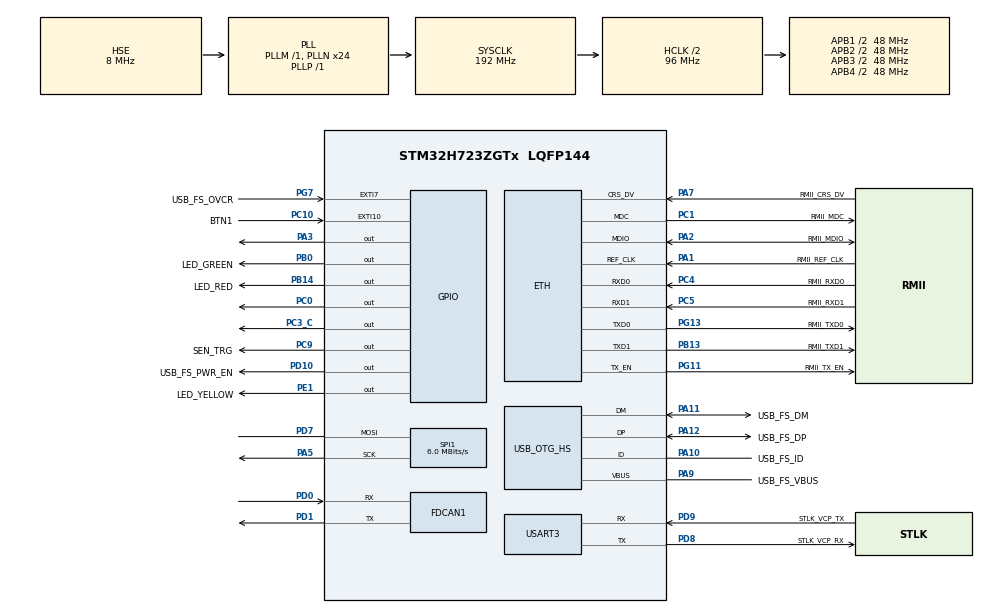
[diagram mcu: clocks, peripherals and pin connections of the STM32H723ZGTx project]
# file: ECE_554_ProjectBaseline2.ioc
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CORTEX_M7.AccessPermission-Cortex_Memory_Protection_Unit_Region0_Settings=MPU_REGION_FULL_ACCESS
CORTEX_M7.BaseAddress-Cortex_Memory_Protection_Unit_Region0_Settings=0x30000000
CORTEX_M7.CPU_DCache=Enabled
CORTEX_M7.CPU_ICache=Enabled
CORTEX_M7.DisableExec-Cortex_Memory_Protection_Unit_Region0_Settings=MPU_INSTRUCTION_ACCESS_DISABLE
CORTEX_M7.Enable-Cortex_Memory_Protection_Unit_Region0_Settings=MPU_REGION_ENABLE
CORTEX_M7.IsShareable-Cortex_Memory_Protection_Unit_Region0_Settings=MPU_ACCESS_SHAREABLE
CORTEX_M7.MPU_Control=MPU_PRIVILEGED_DEFAULT
CORTEX_M7.Size-Cortex_Memory_Protection_Unit_Region0_Settings=MPU_REGION_SIZE_32KB
CORTEX_M7.TypeExtField-Cortex_Memory_Protection_Unit_Region0_Settings=MPU_TEX_LEVEL1
ETH.MediaInterface=HAL_ETH_RMII_MODE
ETH.RxBuffAddress=0x30000100
ETH.RxBuffLen=1524
ETH.RxDescAddress=0x30000000
ETH.TxDescAddress=0x30000080
FDCAN1.AutoRetransmission=ENABLE
FDCAN1.NominalPrescaler=2
FDCAN1.NominalSyncJumpWidth=8
FDCAN1.NominalTimeSeg1=31
FDCAN1.NominalTimeSeg2=8
FDCAN1.ProtocolException=ENABLE
FDCAN1.RxFifo0ElmtsNbr=1
FDCAN1.StdFiltersNbr=1
FDCAN1.TxFifoQueueElmtsNbr=1
FREERTOS.Tasks01=Controller,24,300,Controller_handler,Default,NULL,Dynamic,NULL,NULL;TestMode1,8,128,TestMode1_handler,Default,NULL,Dynamic,NULL,NULL;TestMode2,24,128,TestMode2_handler,Default,NULL,Dynamic,NULL,NULL;TestMode3,24,128,TestMode3_handler,Default,NULL,Dynamic,NULL,NULL;CAN,24,128,CAN_handler,Default,NULL,Dynamic,NULL,NULL;TestMode4,24,128,TestMode4_handler,Default,NULL,Dynamic,NULL,NULL
FREERTOS.configGENERATE_RUN_TIME_STATS=1
FREERTOS.configTICK_RATE_HZ=100
FREERTOS.configUSE_NEWLIB_REENTRANT=1
FREERTOS.configUSE_STATS_FORMATTING_FUNCTIONS=1
FREERTOS.configUSE_TRACE_FACILITY=1
LWIP.BSP.number=1
LWIP.CMSIS_VERSION-Enabled=1
LWIP.GATEWAY_ADDRESS=192.168.001.001
LWIP.IP_ADDRESS=192.168.050.100
LWIP.LWIP_DHCP=0
LWIP.LWIP_RAM_HEAP_POINTER=0x30002000
LWIP.MEM_SIZE=10*1024
LWIP.NETMASK_ADDRESS=255.255.255.000
LWIP.Version=v2.1.2_Cube
LWIP0.BSP.STBoard=false
LWIP0.BSP.api=BSP_COMPONENT_DRIVER
LWIP0.BSP.component=LAN8742
LWIP0.BSP.i2caddr=0
LWIP0.BSP.instance=LAN8742
LWIP0.BSP.name=Driver_PHY
LWIP0.BSP.solution=LAN8742
Mcu.Family=STM32H7
Mcu.Name=STM32H723ZGTx
Mcu.Package=LQFP144
NVIC.ETH_IRQn=true\:5\:0\:false\:false\:true\:true\:true\:true
NVIC.EXTI15_10_IRQn=true\:5\:0\:false\:false\:true\:true\:true\:true
NVIC.FDCAN1_IT0_IRQn=true\:5\:0\:false\:false\:true\:true\:true\:true
NVIC.PriorityGroup=NVIC_PRIORITYGROUP_4
NVIC.TIM1_UP_IRQn=true\:15\:0\:false\:false\:true\:false\:false\:true
NVIC.TimeBase=TIM1_UP_IRQn
NVIC.TimeBaseIP=TIM1
PA1.GPIO_Label=RMII_REF_CLK
PA1.Mode=RMII
PA1.Signal=ETH_REF_CLK
PA10.GPIO_Label=USB_FS_ID
PA10.Mode=OTG/Dual-Role-Device-FS
PA10.Signal=USB_OTG_HS_ID
PA11.GPIO_Label=USB_FS_DM
PA11.Mode=OTG/Dual-Role-Device-FS
PA11.Signal=USB_OTG_HS_DM
PA12.GPIO_Label=USB_FS_DP
PA12.Mode=OTG/Dual-Role-Device-FS
PA12.Signal=USB_OTG_HS_DP
PA13(JTMS/SWDIO).GPIO_Label=SWDIO
PA13(JTMS/SWDIO).Mode=Trace_Asynchronous_SW
PA13(JTMS/SWDIO).Signal=DEBUG_JTMS-SWDIO
PA14(JTCK/SWCLK).GPIO_Label=SWCLK
PA14(JTCK/SWCLK).Mode=Trace_Asynchronous_SW
PA14(JTCK/SWCLK).Signal=DEBUG_JTCK-SWCLK
PA2.GPIO_Label=RMII_MDIO
PA2.Mode=RMII
PA2.Signal=ETH_MDIO
PA3.Signal=GPIO_Output
PA5.Mode=Simplex_Bidirectional_Master
PA5.Signal=SPI1_SCK
PA7.GPIO_Label=RMII_CRS_DV
PA7.Mode=RMII
PA7.Signal=ETH_CRS_DV
PA9.GPIO_Label=USB_FS_VBUS
PA9.Mode=Activate_VBUS_FS
PA9.Signal=USB_OTG_HS_VBUS
PB0.GPIO_Label=LED_GREEN
PB0.Signal=GPIO_Output
PB13.GPIO_Label=RMII_TXD1
PB13.Mode=RMII
PB13.Signal=ETH_TXD1
PB14.GPIO_Label=LED_RED
PB14.Signal=GPIO_Output
PB3(JTDO/TRACESWO).GPIO_Label=SWO
PB3(JTDO/TRACESWO).Mode=Trace_Asynchronous_SW
PB3(JTDO/TRACESWO).Signal=DEBUG_JTDO-SWO
PC0.Signal=GPIO_Output
PC1.GPIO_Label=RMII_MDC
PC1.Mode=RMII
PC1.Signal=ETH_MDC
PC10.GPIO_Label=BTN1
PC10.GPIO_ModeDefaultEXTI=GPIO_MODE_IT_FALLING
PC10.Signal=GPXTI10
PC14-OSC32_IN.Mode=LSE-External-Oscillator
PC14-OSC32_IN.Signal=RCC_OSC32_IN
PC15-OSC32_OUT.Mode=LSE-External-Oscillator
PC15-OSC32_OUT.Signal=RCC_OSC32_OUT
PC3_C.Signal=GPIO_Output
PC4.GPIO_Label=RMII_RXD0
PC4.Mode=RMII
PC4.Signal=ETH_RXD0
PC5.GPIO_Label=RMII_RXD1
PC5.Mode=RMII
PC5.Signal=ETH_RXD1
PC9.GPIO_Label=SEN_TRG
PC9.Signal=GPIO_Output
PD0.Mode=FDCAN_Activate
PD0.Signal=FDCAN1_RX
PD1.Mode=FDCAN_Activate
PD1.Signal=FDCAN1_TX
PD10.GPIO_Label=USB_FS_PWR_EN
PD10.Signal=GPIO_Output
PD7.Mode=Simplex_Bidirectional_Master
PD7.Signal=SPI1_MOSI
PD8.GPIO_Label=STLK_VCP_RX
PD8.Mode=Asynchronous
PD8.Signal=USART3_TX
PD9.GPIO_Label=STLK_VCP_TX
PD9.Mode=Asynchronous
PD9.Signal=USART3_RX
PE1.GPIO_Label=LED_YELLOW
PE1.Signal=GPIO_Output
PG11.GPIO_Label=RMII_TX_EN
PG11.Mode=RMII
PG11.Signal=ETH_TX_EN
PG13.GPIO_Label=RMII_TXD0
PG13.Mode=RMII
PG13.Signal=ETH_TXD0
PG7.GPIO_Label=USB_FS_OVCR
PG7.Signal=GPXTI7
PH0-OSC_IN.GPIO_Label=MCO
PH0-OSC_IN.Mode=HSE-External-Clock-Source
PH0-OSC_IN.Signal=RCC_OSC_IN
PH1-OSC_OUT.Signal=RCC_OSC_OUT
ProjectManager.HeapSize=0x200
ProjectManager.StackSize=0x400
ProjectManager.TargetToolchain=STM32CubeIDE
RCC.ADCFreq_Value=100000000
RCC.APB1Freq_Value=48000000
RCC.APB2Freq_Value=48000000
RCC.APB3Freq_Value=48000000
RCC.APB4Freq_Value=48000000
RCC.CortexFreq_Value=192000000
RCC.D1PPRE=RCC_APB3_DIV2
RCC.D2PPRE1=RCC_APB1_DIV2
RCC.D2PPRE2=RCC_APB2_DIV2
RCC.D3PPRE=RCC_APB4_DIV2
RCC.DIVM1=1
RCC.DIVM2=1
RCC.DIVN1=24
RCC.DIVN2=25
RCC.DIVP1=1
RCC.DIVQ2=5
RCC.FDCANCLockSelection=RCC_FDCANCLKSOURCE_PLL2
RCC.HCLKFreq_Value=96000000
RCC.HPRE=RCC_HCLK_DIV2
RCC.HSE_VALUE=8000000
RCC.PLL2FRACN=0
RCC.PLLFRACN=0
RCC.PLLSourceVirtual=RCC_PLLSOURCE_HSE
RCC.SYSCLKFreq_VALUE=192000000
RCC.SYSCLKSource=RCC_SYSCLKSOURCE_PLLCLK
RCC.USBCLockSelection=RCC_USBCLKSOURCE_HSI48
RCC.USBFreq_Value=48000000
SPI1.BaudRatePrescaler=SPI_BAUDRATEPRESCALER_16
SPI1.CalculateBaudRate=6.0 MBits/s
SPI1.DataSize=SPI_DATASIZE_8BIT
SPI1.Direction=SPI_DIRECTION_1LINE
SPI1.Mode=SPI_MODE_MASTER
SPI1.NSSPMode=SPI_NSS_PULSE_DISABLE
SPI1.VirtualType=VM_MASTER
TIM6.Prescaler=8000 - 1
USART3.VirtualMode-Asynchronous=VM_ASYNC
VP_CRC_VS_CRC.Mode=CRC_Activate
VP_FREERTOS_VS_CMSIS_V2.Mode=CMSIS_V2
VP_LWIP_VS_Enabled.Mode=Enabled
VP_SYS_VS_tim1.Mode=TIM1
VP_TIM6_VS_ClockSourceINT.Mode=Enable_Timer
board=NUCLEO-H723ZG

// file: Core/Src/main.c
/* USER CODE BEGIN Header */
/**
  * ****************************************************************************
  * University of Michigan - Dearborn
  *
  * Course: ECE 574 Adv SW Engineering Methods
  * Project: HIL Test Tool
  ******************************************************************************
  * @file           : main.c
  * @brief          : Main program body
  ******************************************************************************
  */
/* USER CODE END Header */
#include "main.h"
#include "cmsis_os.h"
#include "crc.h"
#include "fdcan.h"
#include "lwip.h"
#include "spi.h"
#include "tim.h"
#include "usart.h"
#include "usb_otg.h"
#include "gpio.h"

/* USER CODE BEGIN Includes */
#include "ST7735.h"
#include "GFX_FUNCTIONS.h"
#include "tcpServerRAW.h"
#include "Globals.h"
/* USER CODE END Includes */

void SystemClock_Config(void);
static void MPU_Config(void);
void MX_FREERTOS_Init(void);

int main(void)
{

  /* MPU Configuration--------------------------------------------------------*/
  MPU_Config();

  /* Enable I-Cache---------------------------------------------------------*/
  SCB_EnableICache();

  /* Enable D-Cache---------------------------------------------------------*/
  SCB_EnableDCache();

  /* MCU Configuration--------------------------------------------------------*/

  /* Reset of all peripherals, Initializes the Flash interface and the Systick. */
  HAL_Init();

  /* Configure the system clock */
  SystemClock_Config();

  /* Initialize all configured peripherals */
  MX_GPIO_Init();
  MX_USART3_UART_Init();
  MX_USB_OTG_HS_USB_Init();
  MX_FDCAN1_Init();
  MX_TIM6_Init();
  MX_SPI1_Init();
  MX_CRC_Init();
  /* USER CODE BEGIN 2 */
  FDCAN1_MSG_config();

  /* USER CODE END 2 */

  /* Init scheduler */
  osKernelInitialize();  /* Call init function for freertos objects (in freertos.c) */
  MX_FREERTOS_Init();
  /* Start scheduler */
  osKernelStart();

  /* We should never get here as control is now taken by the scheduler */
  /* Infinite loop */
  while (1)
  {

  }
}

void SystemClock_Config(void)
{
  RCC_OscInitTypeDef RCC_OscInitStruct = {0};
  RCC_ClkInitTypeDef RCC_ClkInitStruct = {0};

  /** Supply configuration update enable
  */
  HAL_PWREx_ConfigSupply(PWR_LDO_SUPPLY);
  /** Configure the main internal regulator output voltage
  */
  __HAL_PWR_VOLTAGESCALING_CONFIG(PWR_REGULATOR_VOLTAGE_SCALE2);

  while(!__HAL_PWR_GET_FLAG(PWR_FLAG_VOSRDY)) {}
  /** Macro to configure the PLL clock source
  */
  __HAL_RCC_PLL_PLLSOURCE_CONFIG(RCC_PLLSOURCE_HSE);
  /** Initializes the RCC Oscillators according to the specified parameters
  * in the RCC_OscInitTypeDef structure.
  */
  RCC_OscInitStruct.OscillatorType = RCC_OSCILLATORTYPE_HSI48|RCC_OSCILLATORTYPE_HSE;
  RCC_OscInitStruct.HSEState = RCC_HSE_BYPASS;
  RCC_OscInitStruct.HSI48State = RCC_HSI48_ON;
  RCC_OscInitStruct.PLL.PLLState = RCC_PLL_ON;
  RCC_OscInitStruct.PLL.PLLSource = RCC_PLLSOURCE_HSE;
  RCC_OscInitStruct.PLL.PLLM = 1;
  RCC_OscInitStruct.PLL.PLLN = 24;
  RCC_OscInitStruct.PLL.PLLP = 1;
  RCC_OscInitStruct.PLL.PLLQ = 2;
  RCC_OscInitStruct.PLL.PLLR = 2;
  RCC_OscInitStruct.PLL.PLLRGE = RCC_PLL1VCIRANGE_3;
  RCC_OscInitStruct.PLL.PLLVCOSEL = RCC_PLL1VCOWIDE;
  RCC_OscInitStruct.PLL.PLLFRACN = 0;
  if (HAL_RCC_OscConfig(&RCC_OscInitStruct) != HAL_OK)
  {
    Error_Handler();
  }
  /** Initializes the CPU, AHB and APB buses clocks
  */
  RCC_ClkInitStruct.ClockType = RCC_CLOCKTYPE_HCLK|RCC_CLOCKTYPE_SYSCLK
                              |RCC_CLOCKTYPE_PCLK1|RCC_CLOCKTYPE_PCLK2
                              |RCC_CLOCKTYPE_D3PCLK1|RCC_CLOCKTYPE_D1PCLK1;
  RCC_ClkInitStruct.SYSCLKSource = RCC_SYSCLKSOURCE_PLLCLK;
  RCC_ClkInitStruct.SYSCLKDivider = RCC_SYSCLK_DIV1;
  RCC_ClkInitStruct.AHBCLKDivider = RCC_HCLK_DIV2;
  RCC_ClkInitStruct.APB3CLKDivider = RCC_APB3_DIV2;
  RCC_ClkInitStruct.APB1CLKDivider = RCC_APB1_DIV2;
  RCC_ClkInitStruct.APB2CLKDivider = RCC_APB2_DIV2;
  RCC_ClkInitStruct.APB4CLKDivider = RCC_APB4_DIV2;

  if (HAL_RCC_ClockConfig(&RCC_ClkInitStruct, FLASH_LATENCY_1) != HAL_OK)
  {
    Error_Handler();
  }
}

/* MPU Configuration */

void MPU_Config(void)
{
  MPU_Region_InitTypeDef MPU_InitStruct = {0};

  /* Disables the MPU */
  HAL_MPU_Disable();
  /** Initializes and configures the Region and the memory to be protected
  */
  MPU_InitStruct.Enable = MPU_REGION_ENABLE;
  MPU_InitStruct.Number = MPU_REGION_NUMBER0;
  MPU_InitStruct.BaseAddress = 0x30000000;
  MPU_InitStruct.Size = MPU_REGION_SIZE_32KB;
  MPU_InitStruct.SubRegionDisable = 0x0;
  MPU_InitStruct.TypeExtField = MPU_TEX_LEVEL1;
  MPU_InitStruct.AccessPermission = MPU_REGION_FULL_ACCESS;
  MPU_InitStruct.DisableExec = MPU_INSTRUCTION_ACCESS_DISABLE;
  MPU_InitStruct.IsShareable = MPU_ACCESS_SHAREABLE;
  MPU_InitStruct.IsCacheable = MPU_ACCESS_NOT_CACHEABLE;
  MPU_InitStruct.IsBufferable = MPU_ACCESS_NOT_BUFFERABLE;

  HAL_MPU_ConfigRegion(&MPU_InitStruct);
  /* Enables the MPU */
  HAL_MPU_Enable(MPU_PRIVILEGED_DEFAULT);

}

void HAL_TIM_PeriodElapsedCallback(TIM_HandleTypeDef *htim)
{
  if (htim->Instance == TIM1) {
    HAL_IncTick();
  }
}

void Error_Handler(void)
{
  __disable_irq();
  while (1)
  {
  }
}

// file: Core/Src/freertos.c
/* USER CODE BEGIN Header */
/**
  * ****************************************************************************
  * University of Michigan - Dearborn
  *
  * Course: ECE 574 Adv SW Engineering Methods
  * Project: HIL Test Tool
  ******************************************************************************
  * File Name          : freertos.c
  * Description        : Code for freertos applications
  ******************************************************************************
  */
/* USER CODE END Header */

#include "FreeRTOS.h"
#include "task.h"
#include "main.h"
#include "cmsis_os.h"

/* USER CODE BEGIN Includes */
#include "fdcan.h"
#include "Globals.h"
#include "string.h"
#include "ST7735.h"
#include "GFX_FUNCTIONS.h"
#include "tcpServerRAW.h"
#include "lwip.h"
#include "tim.h"
/* USER CODE END Includes */

/* USER CODE BEGIN PD */
#define  TEST_MODE_1 1
#define  TEST_MODE_2 2
#define  TEST_MODE_3 3
#define  TEST_MODE_4 4

#define  START 1
#define  SEND  1

/* USER CODE END PD */

/* USER CODE BEGIN Variables */

uint8_t current_test_mode = 0;

/* USER CODE END Variables */
/* Definitions for Controller */
//osThreadId_t ControllerHandle;
const osThreadAttr_t Controller_attributes = {
  .name = "Controller",
  .stack_size = 300 * 4,
  .priority = (osPriority_t) osPriorityNormal,
};
/* Definitions for TestMode1 */
osThreadId_t TestMode1Handle;
const osThreadAttr_t TestMode1_attributes = {
  .name = "TestMode1",
  .stack_size = 128 * 4,
  .priority = (osPriority_t) osPriorityLow,
};
/* Definitions for TestMode2 */
osThreadId_t TestMode2Handle;
const osThreadAttr_t TestMode2_attributes = {
  .name = "TestMode2",
  .stack_size = 128 * 4,
  .priority = (osPriority_t) osPriorityNormal,
};
/* Definitions for TestMode3 */
osThreadId_t TestMode3Handle;
const osThreadAttr_t TestMode3_attributes = {
  .name = "TestMode3",
  .stack_size = 128 * 4,
  .priority = (osPriority_t) osPriorityNormal,
};
/* Definitions for CAN */
//osThreadId_t CANHandle;
const osThreadAttr_t CAN_attributes = {
  .name = "CAN",
  .stack_size = 128 * 4,
  .priority = (osPriority_t) osPriorityNormal,
};
/* Definitions for TestMode4 */
osThreadId_t TestMode4Handle;
const osThreadAttr_t TestMode4_attributes = {
  .name = "TestMode4",
  .stack_size = 128 * 4,
  .priority = (osPriority_t) osPriorityNormal,
};

/* USER CODE BEGIN FunctionPrototypes */
void resetMyCANTxData_TM1(void);
void resetMyCANTxData_TM2(void);
void resetMyCANTxData_TM3(void);
void resetMyCANTxData_TM4(void);

/* USER CODE END FunctionPrototypes */

void Controller_handler(void *argument);
void TestMode1_handler(void *argument);
void TestMode2_handler(void *argument);
void TestMode3_handler(void *argument);
void CAN_handler(void *argument);
void TestMode4_handler(void *argument);

extern void MX_LWIP_Init(void);
void MX_FREERTOS_Init(void); /* (MISRA C 2004 rule 8.1) */

/* Hook prototypes */
void configureTimerForRunTimeStats(void);
unsigned long getRunTimeCounterValue(void);

/* USER CODE BEGIN 1 */
/* Functions needed when configGENERATE_RUN_TIME_STATS is on */
__weak void configureTimerForRunTimeStats(void)
{

}

__weak unsigned long getRunTimeCounterValue(void)
{
return 0;
}
/* USER CODE END 1 */

void MX_FREERTOS_Init(void) {

  /* Create the thread(s) */
  /* creation of Controller */
  ControllerHandle = osThreadNew(Controller_handler, NULL, &Controller_attributes);

  /* creation of TestMode1 */
  TestMode1Handle = osThreadNew(TestMode1_handler, NULL, &TestMode1_attributes);

  /* creation of TestMode2 */
  TestMode2Handle = osThreadNew(TestMode2_handler, NULL, &TestMode2_attributes);

  /* creation of TestMode3 */
  TestMode3Handle = osThreadNew(TestMode3_handler, NULL, &TestMode3_attributes);

  /* creation of CAN */
  CANHandle = osThreadNew(CAN_handler, NULL, &CAN_attributes);

  /* creation of TestMode4 */
  TestMode4Handle = osThreadNew(TestMode4_handler, NULL, &TestMode4_attributes);

}

void Controller_handler(void *argument)
{
  /* init code for LWIP */
  /* USER CODE BEGIN Controller_handler */
  SM_STATES state = INIT;
  BaseType_t status;
  uint32_t test_mode;

  /* Infinite loop */
  for(;;)
  {
	  switch(state)
	  {
		  case INIT:
			        MX_LWIP_Init();
			        tcp_server_init();
			        ST7735_Init(3);
			        fillScreen(BLACK);
			  		ST7735_WriteString(0, 0, "     HIL Test Tool", Font_7x10, WHITE,BLACK);
			  		ST7735_WriteString(0, 20, "                    ", Font_7x10, WHITE,BLACK);
			  		ST7735_WriteString(0, 30, "Software Ver. 0.1", Font_7x10, WHITE,BLACK);
			  		ST7735_WriteString(0, 40, "Hardware Ver. 0.1", Font_7x10, WHITE,BLACK);
			  		ST7735_WriteString(0, 50, "IPv4 address:", Font_7x10, WHITE,BLACK);
			  		ST7735_WriteString(0, 60, "192.168.50.100", Font_7x10, WHITE,BLACK);
			  		ST7735_WriteString(0, 70, "Port: 10", Font_7x10, WHITE,BLACK);

			  		state = IDLE;
					break;

		  case IDLE:
			        status = xTaskNotifyWait(0, 0, &test_mode, pdMS_TO_TICKS(20));

			        if(status == pdPASS)
			        {
			        	switch(test_mode)
			        	{
			        		case TEST_MODE_1: current_test_mode = TEST_MODE_1;
			        					      fillScreen(BLACK);
			        					      ST7735_WriteString(0, 0, "     HIL Test Tool", Font_7x10, WHITE,BLACK);
			        			              ST7735_WriteString(0, 20, "Test M1: Speed Engine", Font_7x10, WHITE,BLACK);
			        			              ST7735_WriteString(0, 30, "Status:", Font_7x10, WHITE,BLACK);
			        			              ST7735_WriteString(50, 30, "Testing..", Font_7x10, YELLOW,BLACK);
			        			              xTaskNotify((TaskHandle_t)TestMode1Handle, START, eSetValueWithOverwrite);
				        	                  break;

			        		case TEST_MODE_2: current_test_mode = TEST_MODE_2;
			        						  fillScreen(BLACK);
											  ST7735_WriteString(0, 0, "     HIL Test Tool", Font_7x10, WHITE,BLACK);
											  ST7735_WriteString(0, 20, "Test M2: Headlights", Font_7x10, WHITE,BLACK);
											  ST7735_WriteString(0, 30, "Status:", Font_7x10, WHITE,BLACK);
											  ST7735_WriteString(50, 30, "Testing..", Font_7x10, YELLOW,BLACK);
			        					      xTaskNotify((TaskHandle_t)TestMode2Handle, START, eSetValueWithOverwrite);
			        			              break;

			        		case TEST_MODE_3: current_test_mode = TEST_MODE_3;
			        						  fillScreen(BLACK);
											  ST7735_WriteString(0, 0, "     HIL Test Tool", Font_7x10, WHITE,BLACK);
											  ST7735_WriteString(0, 20, "Test M3: Hazards", Font_7x10, WHITE,BLACK);
											  ST7735_WriteString(0, 30, "Status:", Font_7x10, WHITE,BLACK);
											  ST7735_WriteString(50, 30, "Testing..", Font_7x10, YELLOW,BLACK);
			        					      xTaskNotify((TaskHandle_t)TestMode3Handle, START, eSetValueWithOverwrite);
			        			              break;

			        		case TEST_MODE_4: current_test_mode = TEST_MODE_4;
			        						  fillScreen(BLACK);
											  ST7735_WriteString(0, 0, "     HIL Test Tool", Font_7x10, WHITE,BLACK);
											  ST7735_WriteString(0, 20, "Test M4: Engine Status", Font_7x10, WHITE,BLACK);
											  ST7735_WriteString(0, 30, "Status:", Font_7x10, WHITE,BLACK);
											  ST7735_WriteString(50, 30, "Testing..", Font_7x10, YELLOW,BLACK);
			        					      xTaskNotify((TaskHandle_t)TestMode4Handle, START, eSetValueWithOverwrite);
			        			              break;

			        		default:          break;
			        	}
			        }

			        state = IDLE;
			        break;

		  default:  break;
	  }

	  osDelay(1);
  }
  /* USER CODE END Controller_handler */
}

void TestMode1_handler(void *argument)
{
  /* USER CODE BEGIN TestMode1_handler */
  BaseType_t status;
  uint32_t parameter1, failure_flag;
  uint8_t expected_speed;
  TM_STATES TM1_state = TM_INIT;

  /* Infinite loop */
  for(;;)
  {

	  switch(TM1_state)
	  {
		  case TM_INIT:
			               status = xTaskNotifyWait(0, 0, &parameter1, pdMS_TO_TICKS(20));               // Notification comes from HAL_FDCAN_RxFifo0Callback within fdcan.c
		  	  	  	  	   if(status == pdPASS)
		  			       {
								resetMyCANTxData_TM1();                                                  // Resets the Tx CAN frame for a new test.
								TM1_state = TM_MAIN;
								HAL_GPIO_WritePin(LED_GREEN_GPIO_Port, LED_GREEN_Pin, GPIO_PIN_RESET);
								HAL_GPIO_WritePin(LED_RED_GPIO_Port, LED_RED_Pin, GPIO_PIN_RESET);
								HAL_GPIO_WritePin(LED_YELLOW_GPIO_Port, LED_YELLOW_Pin, GPIO_PIN_RESET);
								expected_speed = myTxData[6];
								HAL_FDCAN_AddMessageToTxFifoQ(&hfdcan1, &TxHeader, myTxData);            // Send initial CAN msg to DUT to indicate START of test.

		  			        	status = pdFALSE;														 //Reset status flag to be ready for a new test.
		  			       }

		  	  	  	  	   break;

		  case TM_MAIN:    /*Test Case #1: SPEED ENGINE TEST*/
			               status = xTaskNotifyWait(0, 0, &failure_flag, pdMS_TO_TICKS(10));             // Wait for DUT to respond with CAN ID 0x762.
			               if(status == pdPASS)
			               {
			            	   if(failure_flag != DUT_FAILURE)
			            	   {
			            		   if(myTxData[6] < 0xFF)
			                       {
			            		       myTxData[6]++;                                                   // Increment LSB and send the msg back to the DUT.
			            		       HAL_GPIO_TogglePin(LED_YELLOW_GPIO_Port, LED_YELLOW_Pin);
			            		   	   expected_speed = myTxData[6];
			            		   	   HAL_FDCAN_AddMessageToTxFifoQ(&hfdcan1, &TxHeader, myTxData);
			            		   }
			            		   else                                                                 // Finish test and print PASS results to TFT screen.
			            		   {
			            			   HAL_GPIO_TogglePin(LED_GREEN_GPIO_Port, LED_GREEN_Pin);
			            			   ST7735_WriteString(50, 30, "PASS     ", Font_7x10, GREEN, BLACK);
			            		   	   TM1_state = TM_CLEANUP;                                          // Send Test Mode to CLEANUP.
			            		   	   //tcp_server_send(myTcpb, esTx);
			            		   }
			            	   }
			            	   else																		// Finish test and print FAIL results to TFT screen.
			            	   {
			            		   HAL_GPIO_TogglePin(LED_RED_GPIO_Port, LED_RED_Pin);
			            		   ST7735_WriteString(50, 30, "FAIL     ", Font_7x10, RED, BLACK);
			            		   ST7735_WriteString(0, 50, "Description:", Font_7x10, WHITE,BLACK);
			            		   ST7735_WriteString(0, 60, "NRC Message Received", Font_7x10, YELLOW,BLACK);
			            		   TM1_state = TM_CLEANUP;
			            	   }
			               }

			               /* USER CODE BEGIN Test Case #2 */

			               /* USER CODE END Test Case #2 */

			               /* USER CODE BEGIN Test Case #3 */

			               /* USER CODE END Test Case #3 */
			               break;

		  case TM_CLEANUP:
			               myTxData[4] = 0;                                                                         // Send Speed Engine back to ZERO.
			               HAL_GPIO_WritePin(LED_YELLOW_GPIO_Port, LED_YELLOW_Pin, GPIO_PIN_RESET);
			               HAL_FDCAN_AddMessageToTxFifoQ(&hfdcan1, &TxHeader, myTxData);
			               TM1_state = TM_INIT;
		  			       break;
	  }

      osDelay(10);
  }
  /* USER CODE END TestMode1_handler */
}

void TestMode2_handler(void *argument)
{
  /* USER CODE BEGIN TestMode2_handler */

  uint32_t parameter1, failure_flag;
  uint8_t expected_result;
  BaseType_t status;
  TM_STATES TM2_state = TM_INIT;

  /* Infinite loop */
  for(;;)
  {
	  switch(TM2_state)
	  {
		  case TM_INIT:
						   status = xTaskNotifyWait(0, 0, &parameter1, pdMS_TO_TICKS(20));
						   if(status == pdPASS)
						   {
								resetMyCANTxData_TM2();                                                             // Resets the Tx CAN frame for a new test.
								TM2_state = TM_MAIN;
								HAL_GPIO_WritePin(LED_GREEN_GPIO_Port, LED_GREEN_Pin, GPIO_PIN_RESET);
								HAL_GPIO_WritePin(LED_RED_GPIO_Port, LED_RED_Pin, GPIO_PIN_RESET);
								HAL_GPIO_WritePin(LED_YELLOW_GPIO_Port, LED_YELLOW_Pin, GPIO_PIN_RESET);
								expected_result = myTxData[6];
								HAL_FDCAN_AddMessageToTxFifoQ(&hfdcan1, &TxHeader, myTxData);                       // Send initial CAN msg to DUT to indicate START of test.

								status = pdFALSE;															        //Reset status flag to be ready for a new test.
						   }

						   break;

		  case TM_MAIN:    /*Test Case #1: HEADLIGHT TEST*/
			               status = xTaskNotifyWait(0, 0, &failure_flag, pdMS_TO_TICKS(10));                        // Wait for DUT to respond with CAN ID 0x762.
			               if(status == pdPASS)
						   {
							   if(failure_flag != DUT_FAILURE)
							   {
								   HAL_GPIO_TogglePin(LED_GREEN_GPIO_Port, LED_GREEN_Pin);
								   ST7735_WriteString(50, 30, "PASS     ", Font_7x10, GREEN, BLACK);
								   TM2_state = TM_CLEANUP;
							   }
							   else																					// Finish test and print FAIL results to TFT screen.
							   {
								   HAL_GPIO_TogglePin(LED_RED_GPIO_Port, LED_RED_Pin);
			            		   ST7735_WriteString(50, 30, "FAIL     ", Font_7x10, RED, BLACK);
			            		   ST7735_WriteString(0, 50, "Description:", Font_7x10, WHITE,BLACK);
			            		   ST7735_WriteString(0, 60, "NAK message Received", Font_7x10, YELLOW,BLACK);
								   TM2_state = TM_CLEANUP;
							   }
						   }

						   break;

		  case TM_CLEANUP:
			               HAL_GPIO_WritePin(LED_YELLOW_GPIO_Port, LED_YELLOW_Pin, GPIO_PIN_RESET);
			  			   TM2_state = TM_INIT;
						   break;
	  }

	  osDelay(1);
  }
  /* USER CODE END TestMode2_handler */
}

void TestMode3_handler(void *argument)
{
  /* USER CODE BEGIN TestMode3_handler */

  uint32_t parameter1, failure_flag;
  uint8_t expected_result;
  BaseType_t status;
  TM_STATES TM3_state = TM_INIT;

  /* Infinite loop */
  for(;;)
  {
	  switch(TM3_state)
	  {
		  case TM_INIT:
			            status = xTaskNotifyWait(0, 0, &parameter1, pdMS_TO_TICKS(20));
					    if(status == pdPASS)
					    {
							resetMyCANTxData_TM3();                                                             // Resets the Tx CAN frame for a new test.
							TM3_state = TM_MAIN;
							HAL_GPIO_WritePin(LED_GREEN_GPIO_Port, LED_GREEN_Pin, GPIO_PIN_RESET);
							HAL_GPIO_WritePin(LED_RED_GPIO_Port, LED_RED_Pin, GPIO_PIN_RESET);
							HAL_GPIO_WritePin(LED_YELLOW_GPIO_Port, LED_YELLOW_Pin, GPIO_PIN_RESET);
							expected_result = myTxData[6];
							HAL_FDCAN_AddMessageToTxFifoQ(&hfdcan1, &TxHeader, myTxData);                       // Send initial CAN msg to DUT to indicate START of test.

							status = pdFALSE;															        //Reset status flag to be ready for a new test.
					    }

			            break;

		  case TM_MAIN:    /*Test Case #3: HAZARD LIGHTS TEST*/
						   status = xTaskNotifyWait(0, 0, &failure_flag, pdMS_TO_TICKS(10));                        // Wait for DUT to respond with CAN ID 0x762.
						   if(status == pdPASS)
						   {
							   if(failure_flag != DUT_FAILURE)
							   {
								   HAL_GPIO_TogglePin(LED_GREEN_GPIO_Port, LED_GREEN_Pin);
								   ST7735_WriteString(50, 30, "PASS     ", Font_7x10, GREEN, BLACK);
								   TM3_state = TM_CLEANUP;
							   }
							   else																					// Finish test and print FAIL results to TFT screen.
							   {
								   HAL_GPIO_TogglePin(LED_RED_GPIO_Port, LED_RED_Pin);
			            		   ST7735_WriteString(50, 30, "FAIL     ", Font_7x10, RED, BLACK);
			            		   ST7735_WriteString(0, 50, "Description:", Font_7x10, WHITE,BLACK);
			            		   ST7735_WriteString(0, 60, "NAK message Received", Font_7x10, YELLOW,BLACK);
								   TM3_state = TM_CLEANUP;
							   }
						   }

			               break;

		  case TM_CLEANUP:
			               HAL_GPIO_WritePin(LED_YELLOW_GPIO_Port, LED_YELLOW_Pin, GPIO_PIN_RESET);
			               TM3_state = TM_INIT;
			               break;
	  }

    osDelay(1);
  }
  /* USER CODE END TestMode3_handler */
}

void CAN_handler(void *argument)
{
  /* USER CODE BEGIN CAN_handler */
  BaseType_t status;
  uint32_t failure_flag;

  /* Infinite loop */
  for(;;)
  {
	  status = xTaskNotifyWait(0, 0, &failure_flag, pdMS_TO_TICKS(10));   // Notification comes from HAL_FDCAN_RxFifo0Callback within fdcan.c

	  if(status == pdPASS)
	  {
		  switch(current_test_mode)
		  {
		  	  case TEST_MODE_1:   xTaskNotify((TaskHandle_t)TestMode1Handle, failure_flag, eSetValueWithOverwrite);  break;
		  	  case TEST_MODE_2:   xTaskNotify((TaskHandle_t)TestMode2Handle, failure_flag, eSetValueWithOverwrite);  break;
		  	  case TEST_MODE_3:   xTaskNotify((TaskHandle_t)TestMode3Handle, failure_flag, eSetValueWithOverwrite);  break;
		  	  case TEST_MODE_4:   xTaskNotify((TaskHandle_t)TestMode4Handle, failure_flag, eSetValueWithOverwrite);  break;
		  }
	  }

      osDelay(1);
  }
  /* USER CODE END CAN_handler */
}

void TestMode4_handler(void *argument)
{
  /* USER CODE BEGIN TestMode4_handler */
  uint32_t parameter1, failure_flag;
  uint8_t expected_result;
  BaseType_t status;
  TM_STATES TM4_state = TM_INIT;

  /* Infinite loop */
  for(;;)
  {
	  switch(TM4_state)
	  {
		  case TM_INIT:     status = xTaskNotifyWait(0, 0, &parameter1, pdMS_TO_TICKS(20));
							if(status == pdPASS)
							{
								resetMyCANTxData_TM4();                                                             // Resets the Tx CAN frame for a new test.
								TM4_state = TM_MAIN;
								HAL_GPIO_WritePin(LED_GREEN_GPIO_Port, LED_GREEN_Pin, GPIO_PIN_RESET);
								HAL_GPIO_WritePin(LED_RED_GPIO_Port, LED_RED_Pin, GPIO_PIN_RESET);
								HAL_GPIO_WritePin(LED_YELLOW_GPIO_Port, LED_YELLOW_Pin, GPIO_PIN_RESET);
								expected_result = myTxData[6];
								HAL_FDCAN_AddMessageToTxFifoQ(&hfdcan1, &TxHeader, myTxData);                       // Send initial CAN msg to DUT to indicate START of test.

								status = pdFALSE;															        //Reset status flag to be ready for a new test.
							}

					   	    break;

		  case TM_MAIN:    /*Test Case #4: ENGINE STATUS TEST*/
						   status = xTaskNotifyWait(0, 0, &failure_flag, pdMS_TO_TICKS(10));                        // Wait for DUT to respond with CAN ID 0x762.
						   if(status == pdPASS)
						   {
							   if(failure_flag != DUT_FAILURE)
							   {
								   HAL_GPIO_TogglePin(LED_GREEN_GPIO_Port, LED_GREEN_Pin);
								   ST7735_WriteString(50, 30, "PASS     ", Font_7x10, GREEN, BLACK);
								   TM4_state = TM_CLEANUP;
							   }
							   else																					// Finish test and print FAIL results to TFT screen.
							   {
								   HAL_GPIO_TogglePin(LED_RED_GPIO_Port, LED_RED_Pin);
			            		   ST7735_WriteString(50, 30, "FAIL     ", Font_7x10, RED, BLACK);
			            		   ST7735_WriteString(0, 50, "Description:", Font_7x10, WHITE,BLACK);
			            		   ST7735_WriteString(0, 60, "NAK message Received", Font_7x10, YELLOW,BLACK);
								   TM4_state = TM_CLEANUP;
							   }
						   }

					   	   break;

		  case TM_CLEANUP: HAL_GPIO_WritePin(LED_YELLOW_GPIO_Port, LED_YELLOW_Pin, GPIO_PIN_RESET);
          	  	  	  	   TM4_state = TM_INIT;
						   break;
	  }

    osDelay(1);
  }
  /* USER CODE END TestMode4_handler */
}

/* USER CODE BEGIN Application */
void resetMyCANTxData_TM1(void)
{
	myTxData[0] = 0x05;
	myTxData[1] = 0x22;
	myTxData[2] = 0xFE;
	myTxData[3] = 0x01;

	myTxData[4] = 0x01;
	myTxData[5] = 0x00;
	myTxData[6] = 0x00;
	myTxData[7] = 0x00;
}

void resetMyCANTxData_TM2(void)
{
	myTxData[0] = 0x05;
	myTxData[1] = 0x22;
	myTxData[2] = 0xFE;
	myTxData[3] = 0x02;

	myTxData[4] = 0x01;
	myTxData[5] = 0x00;
	myTxData[6] = 0x00;
	myTxData[7] = 0x00;
}

void resetMyCANTxData_TM3(void)
{
	myTxData[0] = 0x05;
	myTxData[1] = 0x22;
	myTxData[2] = 0xFE;
	myTxData[3] = 0x03;

	myTxData[4] = 0x01;
	myTxData[5] = 0x00;
	myTxData[6] = 0x00;
	myTxData[7] = 0x00;
}

void resetMyCANTxData_TM4(void)
{
	myTxData[0] = 0x05;
	myTxData[1] = 0x22;
	myTxData[2] = 0xFE;
	myTxData[3] = 0x04;

	myTxData[4] = 0x01;   // Enable = 0x01, Disable = 0x00
	myTxData[5] = 0x01;
	myTxData[6] = 0x00;
	myTxData[7] = 0x00;
}
/* USER CODE END Application */
